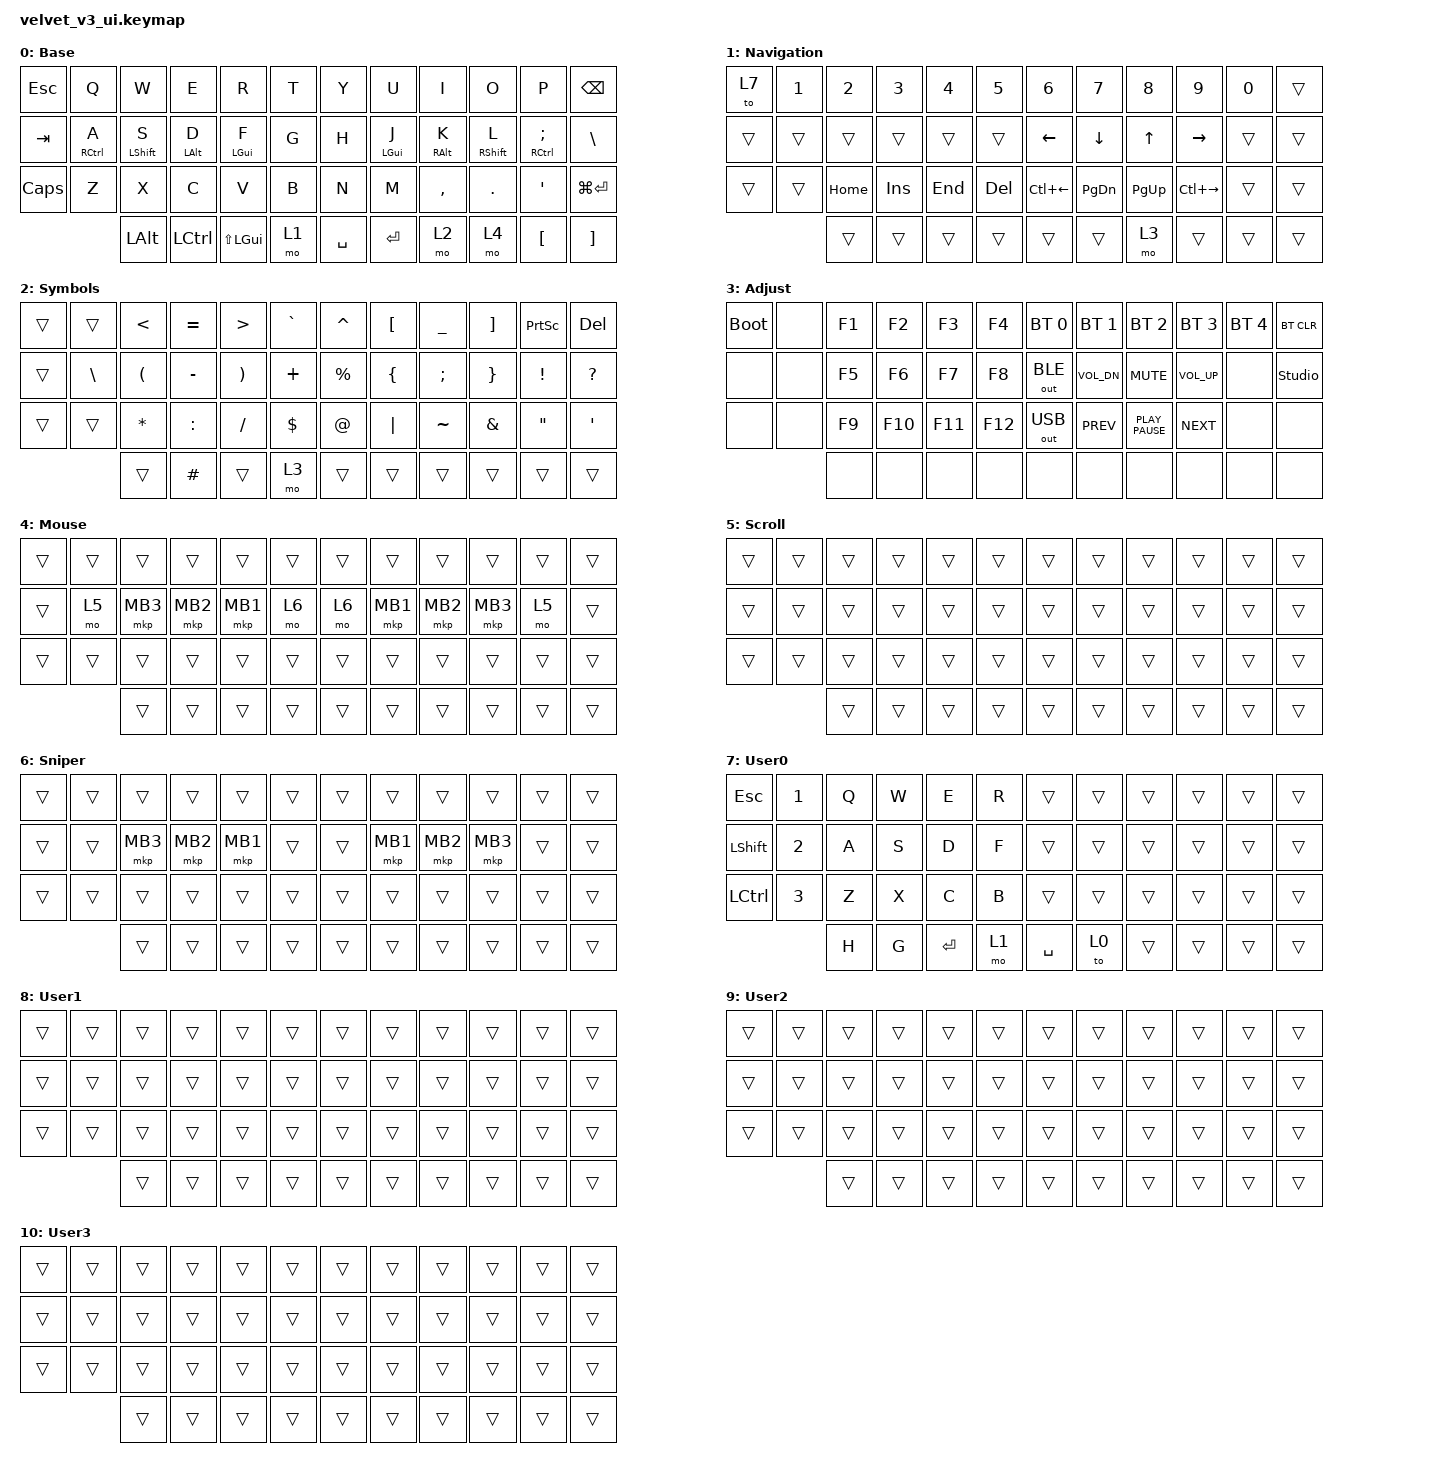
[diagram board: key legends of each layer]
#include "keys_ru.h"
#include <dt-bindings/zmk/input_transform.h>
#include <input/processors.dtsi>
#include <zephyr/dt-bindings/input/input-event-codes.h>
#include <behaviors.dtsi>
#include <dt-bindings/zmk/bt.h>
#include <dt-bindings/zmk/keys.h>
#include <dt-bindings/zmk/outputs.h>
#include <dt-bindings/zmk/pointing.h>

/ {
    behaviors {
        cap_sen: cap_sen {
            compatible = "zmk,behavior-hold-tap";
            label = "CAP_SEN";
            bindings = <&mo>, <&mkp>;

            #binding-cells = <2>;
            tapping-term-ms = <150>;
            hold-while-undecided;
        };

        my_home_row: my_home_row {
            compatible = "zmk,behavior-hold-tap";
            label = "MY_HOME_ROW";
            bindings = <&kp>, <&kp>;

            #binding-cells = <2>;
            tapping-term-ms = <185>;
            flavor = "tap-preferred";
        };
    };

    keymap {
        compatible = "zmk,keymap";

        Base {
            bindings = <
&kp ESC       &kp Q                         &kp W                      &kp E                    &kp R                &kp T                        &kp Y  &kp U                &kp I                     &kp O                       &kp P                    &kp BSPC
&kp TAB       &my_home_row RIGHT_CONTROL A  &my_home_row LEFT_SHIFT S  &my_home_row LEFT_ALT D  &my_home_row LGUI F  &kp G                        &kp H  &my_home_row LGUI J  &my_home_row RIGHT_ALT K  &my_home_row RIGHT_SHIFT L  &my_home_row RCTRL SEMI  &kp BSLH
&kp CAPSLOCK  &kp Z                         &kp X                      &kp C                    &kp V                &kp B                        &kp N  &kp M                &kp COMMA                 &kp DOT                     &kp SQT                  &kp LG(ENTER)
                                            &kp LALT                   &kp LCTRL                &kp LS(LGUI)         &mo 1  &kp SPACE    &kp RET  &mo 2  &mo 4                &kp LBKT                  &kp RBKT
            >;

            display-name = "Base";
        };

        Navigation {
            bindings = <
&to 7   &kp N1  &kp N2    &kp N3   &kp N4   &kp N5                     &kp N6              &kp N7          &kp N8        &kp N9               &kp N0  &trans
&trans  &trans  &trans    &trans   &trans   &trans                     &kp LEFT_ARROW      &kp DOWN_ARROW  &kp UP_ARROW  &kp RIGHT_ARROW      &trans  &trans
&trans  &trans  &kp HOME  &kp INS  &kp END  &kp DEL                    &kp LC(LEFT_ARROW)  &kp PAGE_DOWN   &kp PAGE_UP   &kp LC(RIGHT_ARROW)  &trans  &trans
                &trans    &trans   &trans   &trans   &trans    &trans  &mo 3               &trans          &trans        &trans
            >;

            display-name = "Navigation";
        };

        Symbols {
            bindings = <
&trans  &trans    &kp LT    &kp EQUAL  &kp GT    &kp GRAVE                    &kp CARET  &kp LEFT_BRACKET  &kp UNDER  &kp RIGHT_BRACKET  &kp PRINTSCREEN  &kp DELETE
&trans  &kp BSLH  &kp LPAR  &kp MINUS  &kp RPAR  &kp PLUS                     &kp PRCNT  &kp LBRC          &kp SEMI   &kp RBRC           &kp EXCL         &kp QUESTION
&trans  &trans    &kp STAR  &kp COLON  &kp FSLH  &kp DLLR                     &kp AT     &kp PIPE          &kp TILDE  &kp AMPS           &kp DQT          &kp SQT
                  &trans    &kp HASH   &trans    &mo 3      &trans    &trans  &trans     &trans            &trans     &trans
            >;

            display-name = "Symbols";
        };

        Adjust {
            bindings = <
&bootloader  &none  &kp F1  &kp F2   &kp F3   &kp F4                   &bt BT_SEL 0  &bt BT_SEL 1  &bt BT_SEL 2      &bt BT_SEL 3  &bt BT_SEL 4  &bt BT_CLR
&none        &none  &kp F5  &kp F6   &kp F7   &kp F8                   &out OUT_BLE  &kp C_VOL_DN  &kp K_MUTE        &kp C_VOL_UP  &none         &studio_unlock
&none        &none  &kp F9  &kp F10  &kp F11  &kp F12                  &out OUT_USB  &kp K_PREV    &kp K_PLAY_PAUSE  &kp K_NEXT    &none         &none
                    &none   &none    &none    &none    &none    &none  &none         &none         &none             &none
            >;

            display-name = "Adjust";
        };

        Mouse {
            bindings = <
&trans  &trans  &trans    &trans    &trans    &trans                    &trans  &trans    &trans    &trans    &trans  &trans
&trans  &mo 5   &mkp MB3  &mkp MB2  &mkp MB1  &mo 6                     &mo 6   &mkp MB1  &mkp MB2  &mkp MB3  &mo 5   &trans
&trans  &trans  &trans    &trans    &trans    &trans                    &trans  &trans    &trans    &trans    &trans  &trans
                &trans    &trans    &trans    &trans  &trans    &trans  &trans  &trans    &trans    &trans
            >;
        };

        Scroll {
            bindings = <
&trans  &trans  &trans  &trans  &trans  &trans                    &trans  &trans  &trans  &trans  &trans  &trans
&trans  &trans  &trans  &trans  &trans  &trans                    &trans  &trans  &trans  &trans  &trans  &trans
&trans  &trans  &trans  &trans  &trans  &trans                    &trans  &trans  &trans  &trans  &trans  &trans
                &trans  &trans  &trans  &trans  &trans    &trans  &trans  &trans  &trans  &trans
            >;
        };

        Sniper {
            bindings = <
&trans  &trans  &trans    &trans    &trans    &trans                    &trans  &trans    &trans    &trans    &trans  &trans
&trans  &trans  &mkp MB3  &mkp MB2  &mkp MB1  &trans                    &trans  &mkp MB1  &mkp MB2  &mkp MB3  &trans  &trans
&trans  &trans  &trans    &trans    &trans    &trans                    &trans  &trans    &trans    &trans    &trans  &trans
                &trans    &trans    &trans    &trans  &trans    &trans  &trans  &trans    &trans    &trans
            >;
        };

        User0 {
            bindings = <
&kp ESC         &kp NUMBER_1  &kp Q  &kp W  &kp E      &kp R                      &trans  &trans  &trans  &trans  &trans  &trans
&kp LEFT_SHIFT  &kp NUMBER_2  &kp A  &kp S  &kp D      &kp F                      &trans  &trans  &trans  &trans  &trans  &trans
&kp LCTRL       &kp NUMBER_3  &kp Z  &kp X  &kp C      &kp B                      &trans  &trans  &trans  &trans  &trans  &trans
                              &kp H  &kp G  &kp ENTER  &mo 1  &kp SPACE    &to 0  &trans  &trans  &trans  &trans
            >;

            display-name = "User0";
        };

        User1 {
            bindings = <
&trans  &trans  &trans  &trans  &trans  &trans                    &trans  &trans  &trans  &trans  &trans  &trans
&trans  &trans  &trans  &trans  &trans  &trans                    &trans  &trans  &trans  &trans  &trans  &trans
&trans  &trans  &trans  &trans  &trans  &trans                    &trans  &trans  &trans  &trans  &trans  &trans
                &trans  &trans  &trans  &trans  &trans    &trans  &trans  &trans  &trans  &trans
            >;

            display-name = "User1";
        };

        User2 {
            bindings = <
&trans  &trans  &trans  &trans  &trans  &trans                    &trans  &trans  &trans  &trans  &trans  &trans
&trans  &trans  &trans  &trans  &trans  &trans                    &trans  &trans  &trans  &trans  &trans  &trans
&trans  &trans  &trans  &trans  &trans  &trans                    &trans  &trans  &trans  &trans  &trans  &trans
                &trans  &trans  &trans  &trans  &trans    &trans  &trans  &trans  &trans  &trans
            >;

            display-name = "User2";
        };

        User3 {
            bindings = <
&trans  &trans  &trans  &trans  &trans  &trans                    &trans  &trans  &trans  &trans  &trans  &trans
&trans  &trans  &trans  &trans  &trans  &trans                    &trans  &trans  &trans  &trans  &trans  &trans
&trans  &trans  &trans  &trans  &trans  &trans                    &trans  &trans  &trans  &trans  &trans  &trans
                &trans  &trans  &trans  &trans  &trans    &trans  &trans  &trans  &trans  &trans
            >;

            display-name = "User3";
        };
    };
};

&trackball { cpi = <1000>; };

&trackball_listener {
    input-processors = <&zip_xy_scaler 9 20>;

    scroller {
        layers = <5>;
        input-processors =
            <&zip_xy_transform INPUT_TRANSFORM_Y_INVERT>,
            <&zip_xy_scaler 1 32>,
            <&zip_xy_to_scroll_mapper>;
    };

    sniper {
        layers = <6>;
        input-processors = <&zip_xy_scaler 1 4>;
    };
};
